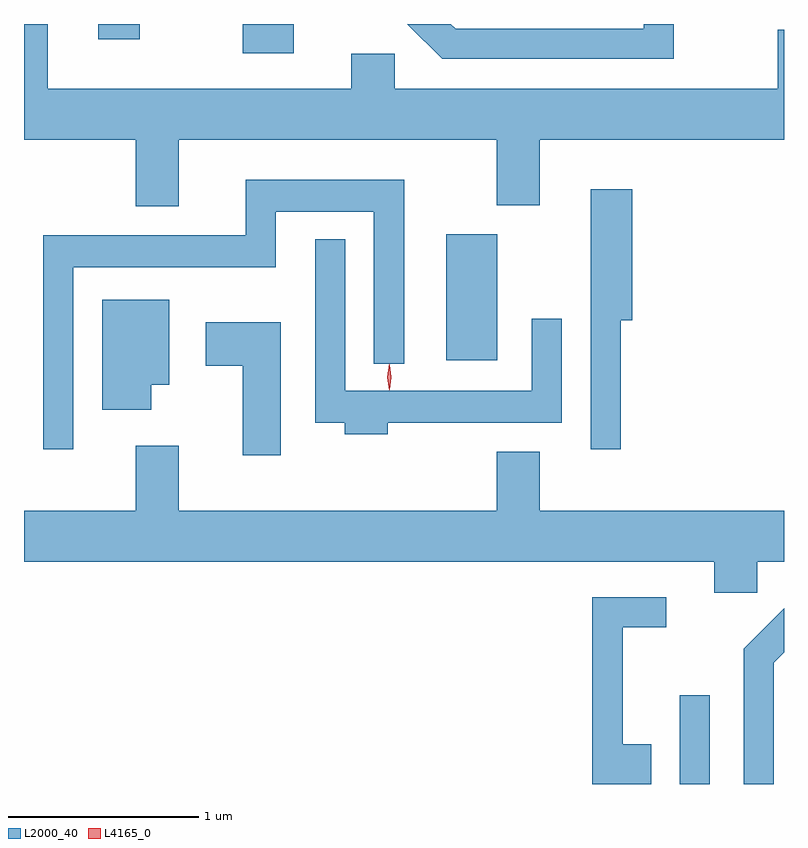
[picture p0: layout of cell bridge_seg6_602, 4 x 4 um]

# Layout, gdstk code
import gdstk
lib = gdstk.Library(unit=1e-6, precision=1e-09)
def R(c, l, rs):  # rectangles x0, y0, x1, y1
    for r in rs: c.add(gdstk.rectangle(r[:2], r[2:], *l))
def P(c, l, *ps):  # polygons
    for p in ps: c.add(gdstk.Polygon(p, *l))
L2000_40 = (2000, 40)
L4165_0 = (4165, 0)

bridge_seg6_602 = lib.new_cell('bridge_seg6_602')
R(bridge_seg6_602, L2000_40, [(546.156,1604.365,546.314,1604.833), (544.926,1606.596,545.194,1607.259), (543.856,1608.211,544.124,1608.365), (543.096,1608.286,543.314,1608.365)])
P(bridge_seg6_602, L2000_40, [(543.519,1607.756),(545.191,1607.756),(545.191,1607.411),(545.419,1607.411),(545.419,1607.756),(546.704,1607.756),(546.704,1608.334),(546.671,1608.334),(546.671,1608.024),(544.654,1608.024),(544.654,1608.209),(544.426,1608.209),(544.426,1608.024),(542.829,1608.024),(542.829,1608.365),(542.704,1608.365),(542.704,1607.756),(543.291,1607.756),(543.291,1607.406),(543.519,1607.406)],
  [(546.124,1608.365),(545.966,1608.365),(545.966,1608.339),(544.977,1608.339),(544.951,1608.365),(544.72,1608.365),(544.904,1608.181),(546.124,1608.181)],
  [(542.964,1607.086),(544.029,1607.086),(544.029,1607.376),(544.546,1607.376),(544.546,1606.578),(544.704,1606.578),(544.704,1607.544),(543.871,1607.544),(543.871,1607.254),(542.806,1607.254),(542.806,1606.128),(542.964,1606.128)],
  [(545.844,1606.806),(545.904,1606.806),(545.904,1607.494),(545.686,1607.494),(545.686,1606.128),(545.844,1606.128)],
  [(544.619,1606.266),(545.534,1606.266),(545.534,1606.813),(545.376,1606.813),(545.376,1606.434),(544.394,1606.434),(544.394,1607.233),(544.236,1607.233),(544.236,1606.266),(544.391,1606.266),(544.391,1606.206),(544.619,1606.206)],
  [(543.374,1606.466),(543.469,1606.466),(543.469,1606.914),(543.116,1606.914),(543.116,1606.336),(543.374,1606.336)],
  [(544.054,1606.794),(543.661,1606.794),(543.661,1606.566),(543.856,1606.566),(543.856,1606.096),(544.054,1606.096)],
  [(546.564,1605.536),(546.704,1605.536),(546.704,1605.804),(545.419,1605.804),(545.419,1606.114),(545.191,1606.114),(545.191,1605.804),(543.519,1605.804),(543.519,1606.144),(543.291,1606.144),(543.291,1605.804),(542.704,1605.804),(542.704,1605.536),(546.336,1605.536),(546.336,1605.371),(546.564,1605.371)],
  [(546.004,1604.574),(545.854,1604.574),(545.854,1605.191),(546.083,1605.191),(546.083,1605.349),(545.696,1605.349),(545.696,1604.365),(546.004,1604.365)],
  [(546.649,1605.004),(546.704,1605.059),(546.704,1605.289),(546.491,1605.077),(546.491,1604.365),(546.649,1604.365)])
P(bridge_seg6_602, L4165_0, [(544.628,1606.439),(544.627,1606.44),(544.618,1606.506),(544.627,1606.572),(544.627,1606.573),(544.628,1606.572),(544.637,1606.506),(544.628,1606.44)],
  [(544.626,1606.437),(544.626,1606.437),(544.616,1606.507),(544.626,1606.576),(544.626,1606.576),(544.627,1606.576),(544.636,1606.507),(544.627,1606.437)])

lib.write_gds('bridge_seg6_602.gds')
